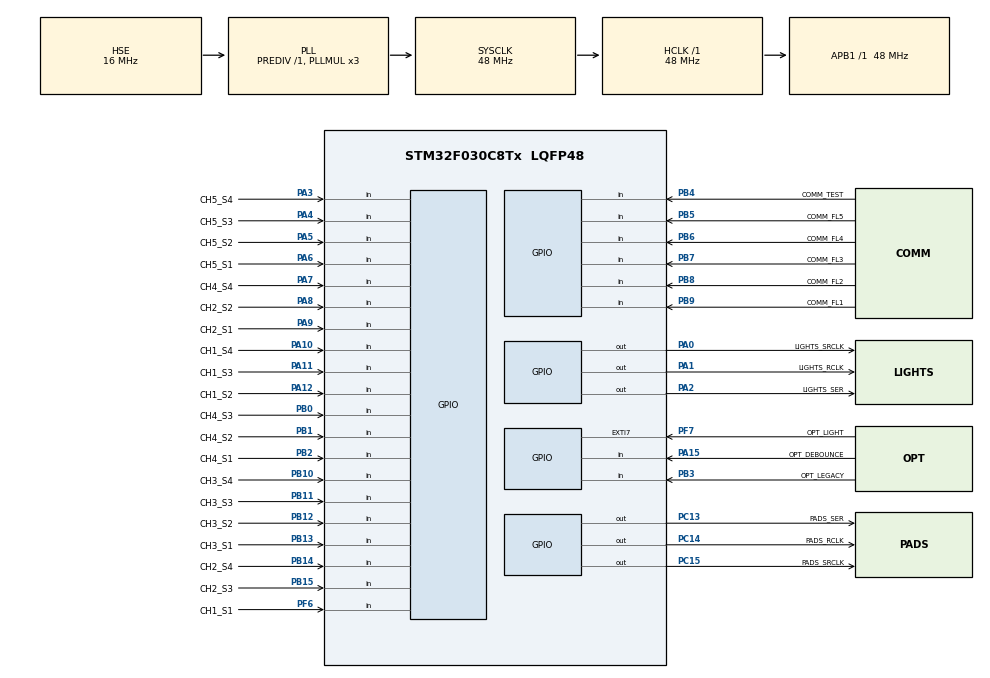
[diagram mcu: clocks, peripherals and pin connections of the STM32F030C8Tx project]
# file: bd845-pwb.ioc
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Mcu.Family=STM32F0
Mcu.Name=STM32F030C8Tx
Mcu.Package=LQFP48
PA0.GPIO_Label=LIGHTS_SRCLK
PA0.Signal=GPIO_Output
PA1.GPIO_Label=LIGHTS_RCLK
PA1.Signal=GPIO_Output
PA10.GPIO_Label=CH1_S4
PA10.Signal=GPIO_Input
PA11.GPIO_Label=CH1_S3
PA11.Signal=GPIO_Input
PA12.GPIO_Label=CH1_S2
PA12.Signal=GPIO_Input
PA13.Mode=Serial_Wire
PA13.Signal=SYS_SWDIO
PA14.Mode=Serial_Wire
PA14.Signal=SYS_SWCLK
PA15.GPIO_Label=OPT_DEBOUNCE
PA15.Signal=GPIO_Input
PA2.GPIO_Label=LIGHTS_SER
PA2.Signal=GPIO_Output
PA3.GPIO_Label=CH5_S4
PA3.Signal=GPIO_Input
PA4.GPIO_Label=CH5_S3
PA4.Signal=GPIO_Input
PA5.GPIO_Label=CH5_S2
PA5.Signal=GPIO_Input
PA6.GPIO_Label=CH5_S1
PA6.Signal=GPIO_Input
PA7.GPIO_Label=CH4_S4
PA7.Signal=GPIO_Input
PA8.GPIO_Label=CH2_S2
PA8.Signal=GPIO_Input
PA9.GPIO_Label=CH2_S1
PA9.Signal=GPIO_Input
PB0.GPIO_Label=CH4_S3
PB0.Signal=GPIO_Input
PB1.GPIO_Label=CH4_S2
PB1.Signal=GPIO_Input
PB10.GPIO_Label=CH3_S4
PB10.Signal=GPIO_Input
PB11.GPIO_Label=CH3_S3
PB11.Signal=GPIO_Input
PB12.GPIO_Label=CH3_S2
PB12.Signal=GPIO_Input
PB13.GPIO_Label=CH3_S1
PB13.Signal=GPIO_Input
PB14.GPIO_Label=CH2_S4
PB14.Signal=GPIO_Input
PB15.GPIO_Label=CH2_S3
PB15.Signal=GPIO_Input
PB2.GPIO_Label=CH4_S1
PB2.Signal=GPIO_Input
PB3.GPIO_Label=OPT_LEGACY
PB3.Signal=GPIO_Input
PB4.GPIO_Label=COMM_TEST
PB4.Signal=GPIO_Input
PB5.GPIO_Label=COMM_FL5
PB5.Signal=GPIO_Input
PB6.GPIO_Label=COMM_FL4
PB6.Signal=GPIO_Input
PB7.GPIO_Label=COMM_FL3
PB7.Signal=GPIO_Input
PB8.GPIO_Label=COMM_FL2
PB8.Signal=GPIO_Input
PB9.GPIO_Label=COMM_FL1
PB9.Signal=GPIO_Input
PC13.GPIO_Label=PADS_SER
PC13.Signal=GPIO_Output
PC14-OSC32_IN.GPIO_Label=PADS_RCLK
PC14-OSC32_IN.Signal=GPIO_Output
PC15-OSC32_OUT.GPIO_Label=PADS_SRCLK
PC15-OSC32_OUT.Signal=GPIO_Output
PF0-OSC_IN.Mode=HSE-External-Oscillator
PF0-OSC_IN.Signal=RCC_OSC_IN
PF1-OSC_OUT.Mode=HSE-External-Oscillator
PF1-OSC_OUT.Signal=RCC_OSC_OUT
PF6.GPIO_Label=CH1_S1
PF6.Signal=GPIO_Input
PF7.GPIO_Label=OPT_LIGHT
PF7.Signal=GPXTI7
ProjectManager.HeapSize=0x200
ProjectManager.StackSize=0x400
ProjectManager.TargetToolchain=STM32CubeIDE
RCC.AHBFreq_Value=48000000
RCC.APB1Freq_Value=48000000
RCC.APB1TimFreq_Value=48000000
RCC.HCLKFreq_Value=48000000
RCC.HSE_VALUE=16000000
RCC.PLLMUL=RCC_PLL_MUL3
RCC.PLLSourceVirtual=RCC_PLLSOURCE_HSE
RCC.SYSCLKFreq_VALUE=48000000
RCC.SYSCLKSource=RCC_SYSCLKSOURCE_PLLCLK
board=custom

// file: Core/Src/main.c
/* USER CODE BEGIN Header */
/**
  ******************************************************************************
  * @file           : main.c
  * @brief          : Main program body
  ******************************************************************************
  * @attention
  *
  * Copyright (c) 2023 STMicroelectronics.
  * All rights reserved.
  *
  * This software is licensed under terms that can be found in the LICENSE file
  * in the root directory of this software component.
  * If no LICENSE file comes with this software, it is provided AS-IS.
  *
  ******************************************************************************
  */
/* USER CODE END Header */
#include "main.h"

/* USER CODE BEGIN PV */
uint32_t Inputs_State;
uint8_t Lights_State;
uint8_t Pads_State;
/* USER CODE END PV */

void SystemClock_Config(void);
static void MX_GPIO_Init(void);
/* USER CODE BEGIN PFP */
void ShiftOut_Lights(uint8_t data);
void Update_Inputs_State(void);
void Update_Lights_State(void);
void Update_Pads_State(void);

/* USER CODE END PFP */

int main(void)
{

  /* MCU Configuration--------------------------------------------------------*/

  /* Reset of all peripherals, Initializes the Flash interface and the Systick. */
  HAL_Init();

  /* Configure the system clock */
  SystemClock_Config();

  /* Initialize all configured peripherals */
  MX_GPIO_Init();

  /* Infinite loop */
  while (1)
  {

    /* USER CODE BEGIN 3 */
  	Update_Inputs_State();
  	Update_Lights_State();
  	Update_Pads_State();
  }
  /* USER CODE END 3 */
}

void SystemClock_Config(void)
{
  RCC_OscInitTypeDef RCC_OscInitStruct = {0};
  RCC_ClkInitTypeDef RCC_ClkInitStruct = {0};

  /** Initializes the RCC Oscillators according to the specified parameters
  * in the RCC_OscInitTypeDef structure.
  */
  RCC_OscInitStruct.OscillatorType = RCC_OSCILLATORTYPE_HSE;
  RCC_OscInitStruct.HSEState = RCC_HSE_ON;
  RCC_OscInitStruct.PLL.PLLState = RCC_PLL_ON;
  RCC_OscInitStruct.PLL.PLLSource = RCC_PLLSOURCE_HSE;
  RCC_OscInitStruct.PLL.PLLMUL = RCC_PLL_MUL3;
  RCC_OscInitStruct.PLL.PREDIV = RCC_PREDIV_DIV1;
  if (HAL_RCC_OscConfig(&RCC_OscInitStruct) != HAL_OK)
  {
    Error_Handler();
  }

  /** Initializes the CPU, AHB and APB buses clocks
  */
  RCC_ClkInitStruct.ClockType = RCC_CLOCKTYPE_HCLK|RCC_CLOCKTYPE_SYSCLK
                              |RCC_CLOCKTYPE_PCLK1;
  RCC_ClkInitStruct.SYSCLKSource = RCC_SYSCLKSOURCE_PLLCLK;
  RCC_ClkInitStruct.AHBCLKDivider = RCC_SYSCLK_DIV1;
  RCC_ClkInitStruct.APB1CLKDivider = RCC_HCLK_DIV1;

  if (HAL_RCC_ClockConfig(&RCC_ClkInitStruct, FLASH_LATENCY_1) != HAL_OK)
  {
    Error_Handler();
  }
}

static void MX_GPIO_Init(void)
{
  GPIO_InitTypeDef GPIO_InitStruct = {0};

  /* GPIO Ports Clock Enable */
  __HAL_RCC_GPIOC_CLK_ENABLE();
  __HAL_RCC_GPIOF_CLK_ENABLE();
  __HAL_RCC_GPIOA_CLK_ENABLE();
  __HAL_RCC_GPIOB_CLK_ENABLE();

  /*Configure GPIO pin Output Level */
  HAL_GPIO_WritePin(GPIOC, PADS_SER_Pin|PADS_RCLK_Pin|PADS_SRCLK_Pin, GPIO_PIN_RESET);

  /*Configure GPIO pin Output Level */
  HAL_GPIO_WritePin(GPIOA, LIGHTS_SRCLK_Pin|LIGHTS_RCLK_Pin|LIGHTS_SER_Pin, GPIO_PIN_RESET);

  /*Configure GPIO pins : PADS_SER_Pin PADS_RCLK_Pin PADS_SRCLK_Pin */
  GPIO_InitStruct.Pin = PADS_SER_Pin|PADS_RCLK_Pin|PADS_SRCLK_Pin;
  GPIO_InitStruct.Mode = GPIO_MODE_OUTPUT_PP;
  GPIO_InitStruct.Pull = GPIO_NOPULL;
  GPIO_InitStruct.Speed = GPIO_SPEED_FREQ_LOW;
  HAL_GPIO_Init(GPIOC, &GPIO_InitStruct);

  /*Configure GPIO pins : LIGHTS_SRCLK_Pin LIGHTS_RCLK_Pin LIGHTS_SER_Pin */
  GPIO_InitStruct.Pin = LIGHTS_SRCLK_Pin|LIGHTS_RCLK_Pin|LIGHTS_SER_Pin;
  GPIO_InitStruct.Mode = GPIO_MODE_OUTPUT_PP;
  GPIO_InitStruct.Pull = GPIO_NOPULL;
  GPIO_InitStruct.Speed = GPIO_SPEED_FREQ_LOW;
  HAL_GPIO_Init(GPIOA, &GPIO_InitStruct);

  /*Configure GPIO pins : CH5_S4_Pin CH5_S3_Pin CH5_S2_Pin CH5_S1_Pin
                           CH4_S4_Pin CH2_S2_Pin CH2_S1_Pin CH1_S4_Pin
                           CH1_S3_Pin CH1_S2_Pin OPT_DEBOUNCE_Pin */
  GPIO_InitStruct.Pin = CH5_S4_Pin|CH5_S3_Pin|CH5_S2_Pin|CH5_S1_Pin
                          |CH4_S4_Pin|CH2_S2_Pin|CH2_S1_Pin|CH1_S4_Pin
                          |CH1_S3_Pin|CH1_S2_Pin|OPT_DEBOUNCE_Pin;
  GPIO_InitStruct.Mode = GPIO_MODE_INPUT;
  GPIO_InitStruct.Pull = GPIO_NOPULL;
  HAL_GPIO_Init(GPIOA, &GPIO_InitStruct);

  /*Configure GPIO pins : CH4_S3_Pin CH4_S2_Pin CH4_S1_Pin CH3_S4_Pin
                           CH3_S3_Pin CH3_S2_Pin CH3_S1_Pin CH2_S4_Pin
                           CH2_S3_Pin OPT_LEGACY_Pin COMM_TEST_Pin COMM_FL5_Pin
                           COMM_FL4_Pin COMM_FL3_Pin COMM_FL2_Pin COMM_FL1_Pin */
  GPIO_InitStruct.Pin = CH4_S3_Pin|CH4_S2_Pin|CH4_S1_Pin|CH3_S4_Pin
                          |CH3_S3_Pin|CH3_S2_Pin|CH3_S1_Pin|CH2_S4_Pin
                          |CH2_S3_Pin|OPT_LEGACY_Pin|COMM_TEST_Pin|COMM_FL5_Pin
                          |COMM_FL4_Pin|COMM_FL3_Pin|COMM_FL2_Pin|COMM_FL1_Pin;
  GPIO_InitStruct.Mode = GPIO_MODE_INPUT;
  GPIO_InitStruct.Pull = GPIO_NOPULL;
  HAL_GPIO_Init(GPIOB, &GPIO_InitStruct);

  /*Configure GPIO pin : CH1_S1_Pin */
  GPIO_InitStruct.Pin = CH1_S1_Pin;
  GPIO_InitStruct.Mode = GPIO_MODE_INPUT;
  GPIO_InitStruct.Pull = GPIO_NOPULL;
  HAL_GPIO_Init(CH1_S1_GPIO_Port, &GPIO_InitStruct);

  /*Configure GPIO pin : OPT_LIGHT_Pin */
  GPIO_InitStruct.Pin = OPT_LIGHT_Pin;
  GPIO_InitStruct.Mode = GPIO_MODE_IT_RISING;
  GPIO_InitStruct.Pull = GPIO_NOPULL;
  HAL_GPIO_Init(OPT_LIGHT_GPIO_Port, &GPIO_InitStruct);

}

/* USER CODE BEGIN 4 */

void Update_Inputs_State(void)
{
	uint32_t State = 0;

	//Update CH1 States
	State |= HAL_GPIO_ReadPin(CH1_S1_GPIO_Port, CH1_S1_Pin) << 0;
	State |= HAL_GPIO_ReadPin(CH1_S2_GPIO_Port, CH1_S2_Pin) << 1;
	State |= HAL_GPIO_ReadPin(CH1_S3_GPIO_Port, CH1_S3_Pin) << 2;
	State |= HAL_GPIO_ReadPin(CH1_S4_GPIO_Port, CH1_S4_Pin) << 3;

	//Update CH2 States
	State |= HAL_GPIO_ReadPin(CH2_S1_GPIO_Port, CH2_S1_Pin) << 4;
	State |= HAL_GPIO_ReadPin(CH2_S2_GPIO_Port, CH2_S2_Pin) << 5;
	State |= HAL_GPIO_ReadPin(CH2_S3_GPIO_Port, CH2_S3_Pin) << 6;
	State |= HAL_GPIO_ReadPin(CH2_S4_GPIO_Port, CH2_S4_Pin) << 7;

	//Update CH3 States
	State |= HAL_GPIO_ReadPin(CH3_S1_GPIO_Port, CH3_S1_Pin) << 8;
	State |= HAL_GPIO_ReadPin(CH3_S2_GPIO_Port, CH3_S2_Pin) << 9;
	State |= HAL_GPIO_ReadPin(CH3_S3_GPIO_Port, CH3_S3_Pin) << 10;
	State |= HAL_GPIO_ReadPin(CH3_S4_GPIO_Port, CH3_S4_Pin) << 11;

	//Update CH4 States
	State |= HAL_GPIO_ReadPin(CH4_S1_GPIO_Port, CH4_S1_Pin) << 12;
	State |= HAL_GPIO_ReadPin(CH4_S2_GPIO_Port, CH4_S2_Pin) << 13;
	State |= HAL_GPIO_ReadPin(CH4_S3_GPIO_Port, CH4_S3_Pin) << 14;
	State |= HAL_GPIO_ReadPin(CH4_S4_GPIO_Port, CH4_S4_Pin) << 15;

	//Update CH5 States
	State |= HAL_GPIO_ReadPin(CH5_S1_GPIO_Port, CH5_S1_Pin) << 16;
	State |= HAL_GPIO_ReadPin(CH5_S2_GPIO_Port, CH5_S2_Pin) << 17;
	State |= HAL_GPIO_ReadPin(CH5_S3_GPIO_Port, CH5_S3_Pin) << 18;
	State |= HAL_GPIO_ReadPin(CH5_S4_GPIO_Port, CH5_S4_Pin) << 19;

	//Update COMM states
	State |= HAL_GPIO_ReadPin(COMM_FL1_GPIO_Port, COMM_FL1_GPIO_Port) << 20;
	State |= HAL_GPIO_ReadPin(COMM_FL2_GPIO_Port, COMM_FL2_GPIO_Port) << 21;
	State |= HAL_GPIO_ReadPin(COMM_FL3_GPIO_Port, COMM_FL3_GPIO_Port) << 22;
	State |= HAL_GPIO_ReadPin(COMM_FL4_GPIO_Port, COMM_FL4_GPIO_Port) << 23;
	State |= HAL_GPIO_ReadPin(COMM_FL5_GPIO_Port, COMM_FL5_GPIO_Port) << 24;
	State |= HAL_GPIO_ReadPin(COMM_TEST_GPIO_Port, COMM_TEST_GPIO_Port) << 25;

	State |= ~HAL_GPIO_ReadPin(OPT_LIGHT_GPIO_Port, OPT_LIGHT_Pin) << 26;
	State |= ~HAL_GPIO_ReadPin(OPT_DEBOUNCE_GPIO_Port, OPT_DEBOUNCE_Pin) << 27;
	State |= ~HAL_GPIO_ReadPin(OPT_LEGACY_GPIO_Port, OPT_LEGACY_Pin) << 28;

	Inputs_State = ~State;
}

void Update_Lights_State(void)
{
	//TODO
	uint8_t State = 0;

	if(Inputs_State & OPT_LIGHT)
  {
		if(Inputs_State & CH1_OR) State |= STATUS_LED;

	}

	Lights_State = State;

	ShiftOut_Lights(Lights_State);
}

void Update_Pads_State(void)
{
	//TODO
}

void ShiftOut_Lights(uint8_t data)
{
	//MSBFirst
	for(int8_t i = 7; i >= 0; i--)
	{
		HAL_GPIO_WritePin(LIGHTS_SER_GPIO_Port, LIGHTS_SER_Pin, (data >> i) & 0x01);

		//Shift
		HAL_GPIO_WritePin(LIGHTS_SRCLK_GPIO_Port, LIGHTS_SRCLK_Pin, GPIO_PIN_SET);
		HAL_GPIO_WritePin(LIGHTS_SRCLK_GPIO_Port, LIGHTS_SRCLK_Pin, GPIO_PIN_RESET);
	}

	// Latch
	HAL_GPIO_WritePin(LIGHTS_RCLK_GPIO_Port, LIGHTS_RCLK_Pin, GPIO_PIN_SET);
	HAL_GPIO_WritePin(LIGHTS_RCLK_GPIO_Port, LIGHTS_RCLK_Pin, GPIO_PIN_RESET);
}

/* USER CODE END 4 */

void Error_Handler(void)
{
  /* USER CODE BEGIN Error_Handler_Debug */
  /* User can add his own implementation to report the HAL error return state */
  __disable_irq();
  while (1)
  {
  	//Blink status LED indefinitely
	  ShiftOut_Lights(0x00);
	  HAL_Delay(500);
	  ShiftOut_Lights(STATUS_LED);
	  HAL_Delay(500);
  }
  /* USER CODE END Error_Handler_Debug */
}
